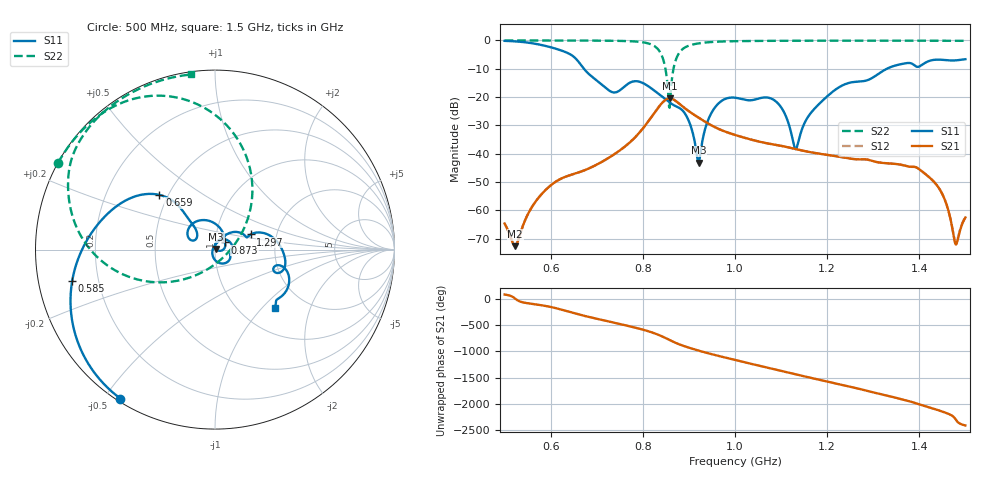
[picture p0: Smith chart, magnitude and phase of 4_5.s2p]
! TOUCHSTONE file generated by CST MICROWAVE STUDIO
! Date and time: Mon Oct 26 12:25:09 2020
! Project name: Scenario_1_Circular_Tissue_out_of_Line.cst
! Parameters = {dy1=-293.977; L_HA=400; MT=2.54; Rad_Dielectric=30; Rad_Lower=7.3; Rad_Upper=30; a_HA=580; a_WG=246; b_HA=500; b_WG=121; c_HA=0; c_WG=187; d_feed=85; dx1=866; h_feed=15; h_lower=18; h_upper=40}
! Header version: 2018
! Port assignment regex: !\s*Touchstone port\s*([0-9]+)\s*=\s*(CST MWS port|CST DS port)\s*([0-9]+|Zmin|Zmax)\s*\(\"(.*)\"\)(\s*mode\s*([0-9]+))?.*
! Touchstone port assignment:
! Touchstone port 1 = CST MWS port 1 ("")
! Touchstone port 2 = CST MWS port 2 ("")
# GHz S DB R 50
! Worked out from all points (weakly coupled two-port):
!   1001 points, 500 MHz to 1.5 GHz, reference 50 ohm
!   highest |S21| = -20.45 dB at 858 MHz (marker M1); lowest = -72.6 dB at 523 MHz (marker M2)
!   lowest |S11| = -43.2 dB at 921 MHz (marker M3), VSWR 1.01, Z = 50.6 + j0.428 ohm
!   |S11| at or under -10 dB: 672.2 MHz to 1.33 GHz (657.3 MHz wide, 65.7 % of centre)
!   |S22| runs from -23.8 to 0.0 dB; largest |S21 - S12| = 2.3e-05
!   S11 on the Smith chart (normalised r, x): 500 MHz: 0.01, -0.55; 585 MHz: 0.10, -0.11; 659 MHz: 0.45, +0.34; 873 MHz: 1.11, +0.09; 1.297 GHz: 1.47, +0.26; 1.5 GHz: 1.43, -1.18
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0.5  -0.15 -122.4  -64.60 83.7  -64.60 83.7  -0.01 151.1
0.523  -0.33 -133.4  -72.59 5.7  -72.29 5.6  -0.01 149.6
0.585  -1.79 -167.8  -53.41 -127.7  -53.41 -127.5  -0.02 145.2
0.659  -7.23 135.5  -46.67 69.0  -46.67 69.0  -0.04 139.1
0.667  -8.91 130.9  -46.21 50.9  -46.21 50.9  -0.04 138.4
0.734  -18.26 145.2  -40.59 -84.3  -40.59 -84.3  -0.12 130.2
0.779  -14.47 140.1  -34.87 -177.5  -34.87 -177.5  -0.33 120.6
0.834  -18.85 71.4  -23.56 35.9  -23.56 35.9  -3.33 83.3
0.858  -21.88 49.5  -20.45 -62.4  -20.45 -62.4  -23.76 -61.2
0.873  -23.33 35.6  -21.55 -123.7  -21.55 -123.7  -6.23 -161.2
0.899  -28.13 -6.5  -24.88 154.4  -24.88 154.4  -1.89 168.2
0.921  -43.15 37.5  -27.25 95.7  -27.25 95.7  -1.04 157.3
0.952  -24.71 66.9  -30.24 21.8  -30.24 21.8  -0.53 148.5
1  -20.21 1.7  -33.35 -82.0  -33.35 -82.0  -0.27 140.2
1.088  -21.42 -65.4  -36.83 94.6  -36.83 94.6  -0.13 130.8
1.132  -38.34 157.7  -38.35 2.4  -38.35 2.4  -0.11 127.0
1.167  -25.11 64.3  -39.53 -67.6  -39.53 -67.6  -0.10 124.2
1.297  -13.30 23.0  -42.48 26.4  -42.48 26.4  -0.08 114.3
1.334  -9.66 11.8  -43.39 -49.8  -43.39 -49.8  -0.09 111.4
1.434  -6.82 -26.4  -50.27 61.2  -50.28 61.2  -0.11 103.5
1.479  -7.03 -40.2  -71.96 -137.0  -71.52 -137.9  -0.12 99.7
1.5  -6.63 -44.2  -62.48 109.7  -62.28 110.9  -0.13 97.8
